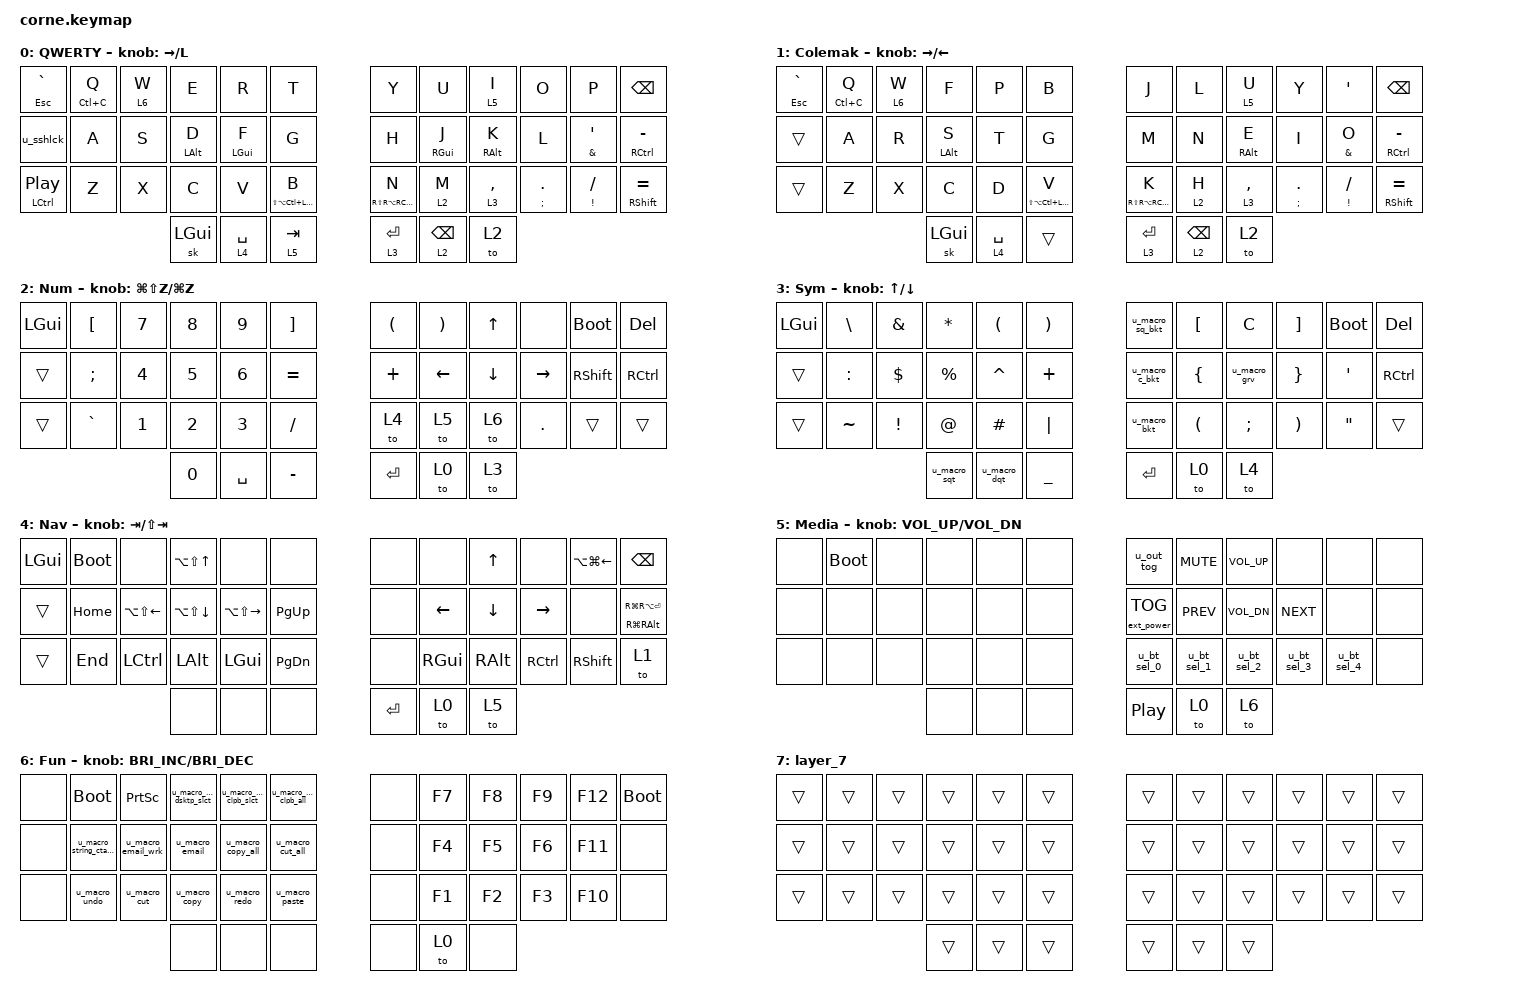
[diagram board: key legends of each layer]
#include <behaviors/mouse_key_press.dtsi>
#include <behaviors.dtsi>
#include <dt-bindings/zmk/bt.h>
#include <dt-bindings/zmk/ext_power.h>
#include <dt-bindings/zmk/keys.h>
#include <dt-bindings/zmk/keys.h>
#include <dt-bindings/zmk/outputs.h>

/ {
    keymap {
        compatible = "zmk,keymap";

        QWERTY {
            display-name = "QWERTY";
            bindings = <
&u_mt ESC GRAVE           &u_mt LC(C) Q  &u_lt 6 W  &kp E         &kp R          &kp T                       &kp Y                     &kp U         &u_lt 5 I     &kp O           &kp P             &kp BACKSPACE
&u_sshlck                 &kp A          &kp S      &u_mt LALT D  &u_mt LGUI F   &kp G                       &kp H                     &u_mt RGUI J  &u_mt RALT K  &kp L           &u_mt AMPS SQT    &u_mt RCTRL MINUS
&u_mt LCTRL C_PLAY_PAUSE  &kp Z          &kp X      &kp C         &kp V          &u_mt LS(LA(LC(LGUI))) B    &u_mt RS(RA(RC(RGUI))) N  &u_lt 2 M     &lt 3 COMMA   &u_mt SEMI DOT  &u_mt EXCL SLASH  &u_mt RSHIFT EQUAL
                                                    &sk LGUI      &u_lt 4 SPACE  &u_lt 5 TAB                 &u_lt 3 RET               &u_lt 2 BSPC  &to 2
            >;

            sensor-bindings = <&inc_dec_kp RIGHT L>;
        };

        COLEMAK {
            display-name = "Colemak";
            bindings = <
&u_mt ESC GRAVE  &u_mt LC(C) Q  &u_lt 6 W  &kp F         &kp P          &kp B                       &kp J                     &kp L         &u_lt 5 U      &kp Y           &kp SQT         &kp BACKSPACE
&trans           &kp A          &kp R      &u_mt LALT S  &kp T          &kp G                       &kp M                     &kp N         &u_mt RALT E   &kp I           &u_mt AMPS O    &mt RCTRL MINUS
&trans           &kp Z          &kp X      &kp C         &kp D          &u_mt LS(LA(LC(LGUI))) V    &u_mt RS(RA(RC(RGUI))) K  &u_lt 2 H     &u_lt 3 COMMA  &u_mt SEMI DOT  &mt EXCL SLASH  &u_mt RSHIFT EQUAL
                                           &sk LGUI      &u_lt 4 SPACE  &trans                      &u_lt 3 RET               &u_lt 2 BSPC  &to 2
            >;

            sensor-bindings = <&inc_dec_kp RIGHT LEFT>;
        };

        NUM {
            display-name = "Num";
            bindings = <
&kp LGUI  &kp LBKT   &kp N7  &kp N8  &kp N9     &kp RBKT     &kp LPAR  &kp RPAR  &kp UP    &none      &bootloader  &kp DEL
&trans    &kp SEMI   &kp N4  &kp N5  &kp N6     &kp EQUAL    &kp PLUS  &kp LEFT  &kp DOWN  &kp RIGHT  &kp RSHFT    &kp RCTRL
&trans    &kp GRAVE  &kp N1  &kp N2  &kp N3     &kp SLASH    &to 4     &to 5     &to 6     &kp DOT    &trans       &trans
                             &kp N0  &kp SPACE  &kp MINUS    &kp RET   &to 0     &to 3
            >;

            sensor-bindings = <&inc_dec_kp LG(LS(Z)) LG(Z)>;
        };

        SYM {
            display-name = "Sym";
            bindings = <
&kp LGUI  &kp BSLH   &kp AMPS  &kp ASTRK     &kp LPAR      &kp RPAR     &u_macro_sq_bkt  &kp LBKT  &kp C         &kp RBKT  &bootloader  &kp DEL
&trans    &kp COLON  &kp DLLR  &kp PRCNT     &kp CARET     &kp PLUS     &u_macro_c_bkt   &kp LBRC  &u_macro_grv  &kp RBRC  &kp SQT      &kp RCTRL
&trans    &kp TILDE  &kp EXCL  &kp AT        &kp HASH      &kp PIPE     &u_macro_bkt     &kp LPAR  &kp SEMI      &kp RPAR  &kp DQT      &trans
                               &u_macro_sqt  &u_macro_dqt  &kp UNDER    &kp RET          &to 0     &to 4
            >;

            sensor-bindings = <&inc_dec_kp UP DOWN>;
        };

        NAV {
            display-name = "Nav";
            bindings = <
&kp LGUI  &bootloader  &none             &kp LA(LS(UP))    &none              &none            &none    &none     &kp UP    &none      &kp LA(LG(LEFT))  &kp BACKSPACE
&trans    &kp HOME     &kp LA(LS(LEFT))  &kp LA(LS(DOWN))  &kp LA(LS(RIGHT))  &kp PAGE_UP      &none    &kp LEFT  &kp DOWN  &kp RIGHT  &none             &u_mt RG(RALT) RG(RA(ENTER))
&trans    &kp END      &kp LEFT_CONTROL  &kp LEFT_ALT      &kp LGUI           &kp PAGE_DOWN    &none    &kp RGUI  &kp RALT  &kp RCTRL  &kp RSHIFT        &to 1
                                         &none             &none              &none            &kp RET  &to 0     &to 5
            >;

            sensor-bindings = <&inc_dec_kp TAB LS(TAB)>;
        };

        MEDIA {
            display-name = "Media";
            bindings = <
&none  &bootloader  &none  &none  &none  &none    &u_out_tog         &kp C_MUTE   &kp C_VOL_UP  &none        &none        &none
&none  &none        &none  &none  &none  &none    &ext_power EP_TOG  &kp C_PREV   &kp C_VOL_DN  &kp C_NEXT   &none        &none
&none  &none        &none  &none  &none  &none    &u_bt_sel_0        &u_bt_sel_1  &u_bt_sel_2   &u_bt_sel_3  &u_bt_sel_4  &none
                           &none  &none  &none    &kp C_PLAY_PAUSE   &to 0        &to 6
            >;

            sensor-bindings = <&inc_dec_kp C_VOL_UP C_VOL_DN>;
        };

        FUN {
            display-name = "Fun";
            bindings = <
&none  &bootloader            &kp PSCRN           &u_macro_pscrn_dsktp_slct  &u_macro_pscrn_clpb_slct  &u_macro_pscrn_clpb_all    &none  &kp F7  &kp F8  &kp F9  &kp F12  &bootloader
&none  &u_macro_string_ctask  &u_macro_email_wrk  &u_macro_email             &u_macro_copy_all         &u_macro_cut_all           &none  &kp F4  &kp F5  &kp F6  &kp F11  &none
&none  &u_macro_undo          &u_macro_cut        &u_macro_copy              &u_macro_redo             &u_macro_paste             &none  &kp F1  &kp F2  &kp F3  &kp F10  &none
                                                  &none                      &none                     &none                      &none  &to 0   &none
            >;

            sensor-bindings = <&inc_dec_kp C_BRI_INC C_BRI_DEC>;
        };

        layer_7 {
            bindings = <
&trans  &trans  &trans  &trans  &trans  &trans    &trans  &trans  &trans  &trans  &trans  &trans
&trans  &trans  &trans  &trans  &trans  &trans    &trans  &trans  &trans  &trans  &trans  &trans
&trans  &trans  &trans  &trans  &trans  &trans    &trans  &trans  &trans  &trans  &trans  &trans
                        &trans  &trans  &trans    &trans  &trans  &trans
            >;
        };
    };

    combos {
        compatible = "zmk,combos";

        u_combo_base {
            bindings = <&to 1>;
            key-positions = <10 11>;
        };

        u_combo_esc {
            bindings = <&kp ESC>;
            key-positions = <24 35>;
        };

        u_combo_extra {
            bindings = <&to 0>;
            key-positions = <23 22>;
        };

        u_combo_zoom {
            bindings = <&u_macro_app_zoom>;
            key-positions = <6 7>;
        };

        u_combo_zoom_mic {
            bindings = <&u_macro_app_zoom_mic>;
            key-positions = <18 19>;
        };

        u_combo_zoom_end {
            bindings = <&u_macro_app_close_window>;
            key-positions = <1 10>;
        };

        u_combo_volup {
            bindings = <&kp C_VOL_UP>;
            key-positions = <10 22>;
        };

        u_combo_voldown {
            bindings = <&kp C_VOL_DN>;
            key-positions = <22 34>;
        };

        u_combo_playpause {
            bindings = <&kp C_PLAY_PAUSE>;
            key-positions = <28 29>;
        };

        u_combo_search_selected {
            bindings = <&u_macro_search_selected>;
            key-positions = <16 17>;
        };
    };

    macros {
        u_macro_u_bt_sel_0: u_macro_u_bt_sel_0 {
            compatible = "zmk,behavior-macro";
            #binding-cells = <0>;
            wait-ms = <0>;
            bindings = <&bt BT_SEL 0 &bt BT_CLR>;
        };

        u_macro_u_bt_sel_1: u_macro_u_bt_sel_1 {
            compatible = "zmk,behavior-macro";
            #binding-cells = <0>;
            wait-ms = <0>;
            bindings = <&bt BT_SEL 1 &bt BT_CLR>;
        };

        u_macro_u_bt_sel_2: u_macro_u_bt_sel_2 {
            compatible = "zmk,behavior-macro";
            #binding-cells = <0>;
            wait-ms = <0>;
            bindings = <&bt BT_SEL 2 &bt BT_CLR>;
        };

        u_macro_u_bt_sel_3: u_macro_u_bt_sel_3 {
            compatible = "zmk,behavior-macro";
            #binding-cells = <0>;
            wait-ms = <0>;
            bindings = <&bt BT_SEL 3 &bt BT_CLR>;
        };

        u_macro_u_bt_sel_4: u_macro_u_bt_sel_4 {
            compatible = "zmk,behavior-macro";
            #binding-cells = <0>;
            wait-ms = <0>;
            bindings = <&bt BT_SEL 4 &bt BT_CLR>;
        };

        u_macro_btn1: u_macro_btn1 {
            compatible = "zmk,behavior-macro";
            #binding-cells = <0>;
            wait-ms = <0>;
            bindings = <&kp KP_SLASH &kp KP_N5>;
        };

        u_macro_btn2: u_macro_btn2 {
            compatible = "zmk,behavior-macro";
            #binding-cells = <0>;
            wait-ms = <0>;
            bindings = <&kp KP_MINUS &kp KP_N5>;
        };

        u_macro_btn3: u_macro_btn3 {
            compatible = "zmk,behavior-macro";
            #binding-cells = <0>;
            wait-ms = <0>;
            bindings = <&kp KP_ASTERISK &kp KP_N5>;
        };

        u_macro_email_wrk: u_macro_email_wrk {
            compatible = "zmk,behavior-macro";
            #binding-cells = <0>;
            bindings = <&kp R &kp Y &kp E &kp E &kp AT &kp H &kp E &kp A &kp L &kp T &kp H &kp F &kp I &kp R &kp S &kp T &kp DOT &kp O &kp R &kp G>;
        };

        u_macro_email: u_macro_email {
            compatible = "zmk,behavior-macro";
            #binding-cells = <0>;
            bindings = <&none &kp L &kp O &kp O &kp K &kp F &kp O &kp R &kp DOT &kp R &kp A &kp C &kp H &kp E &kp L &kp AT &kp G &kp M &kp A &kp I &kp L &kp DOT &kp C &kp O &kp M>;
        };

        u_macro_string_ctask: u_macro_string_ctask {
            compatible = "zmk,behavior-macro";
            #binding-cells = <0>;
            bindings = <&none &kp LS(S) &kp E &kp R &kp V &kp E &kp R &kp L &kp E &kp S &kp S &kp SPACE &kp LS(C) &kp LS(D) &kp SPACE &kp D &kp E &kp P &kp L &kp O &kp Y &kp SPACE>;
        };

        u_macro_app_zoom: u_macro_app_zoom {
            compatible = "zmk,behavior-macro";
            #binding-cells = <0>;
            bindings = <&none &kp LG(LA(LC(LS(Z))))>;
        };

        u_macro_app_zoom_mic: u_macro_app_zoom_mic {
            compatible = "zmk,behavior-macro";
            #binding-cells = <0>;
            bindings = <&u_macro_app_zoom &kp LG(LS(A))>;
        };

        u_macro_app_close_window: u_macro_app_close_window {
            compatible = "zmk,behavior-macro";
            #binding-cells = <0>;
            bindings = <&kp LG(W) &kp ENTER>;
            wait-ms = <500>;
        };

        u_macro_string_ryee: u_macro_string_ryee {
            compatible = "zmk,behavior-macro";
            #binding-cells = <0>;
            bindings = <&none &kp R &kp Y &kp E &kp E>;
        };

        u_macro_string_name: u_macro_string_name {
            compatible = "zmk,behavior-macro";
            #binding-cells = <0>;
            bindings = <&none &kp LS(R) &kp A &kp C &kp H &kp E &kp L &kp SPACE &kp LS(Y) &kp E &kp E>;
        };

        u_macro_cut_all: u_macro_cut_all {
            compatible = "zmk,behavior-macro";
            #binding-cells = <0>;
            bindings = <&kp LG(A) &kp LG(X)>;
        };

        u_macro_pscrn_clpb_slct: u_macro_pscrn_clpb_slct {
            compatible = "zmk,behavior-macro";
            #binding-cells = <0>;
            bindings = <&none &kp LG(LC(LS(NUMBER_4)))>;
        };

        u_macro_pscrn_clpb_all: u_macro_pscrn_clpb_all {
            compatible = "zmk,behavior-macro";
            #binding-cells = <0>;
            bindings = <&kp LG(LC(LS(NUMBER_3)))>;
        };

        u_macro_pscrn_dsktp_slct: u_macro_pscrn_dsktp_slct {
            compatible = "zmk,behavior-macro";
            #binding-cells = <0>;
            bindings = <&kp LG(LS(NUMBER_4))>;
        };

        u_macro_pscrn_dsktp_all: u_macro_pscrn_all {
            compatible = "zmk,behavior-macro";
            #binding-cells = <0>;
            bindings = <&kp LG(LS(NUMBER_3))>;
        };

        u_macro_copy_all: u_macro_copy_all {
            compatible = "zmk,behavior-macro";
            #binding-cells = <0>;
            bindings = <&kp LG(A) &kp LG(C)>;
        };

        u_macro_bkt: u_macro_bkt {
            compatible = "zmk,behavior-macro";
            #binding-cells = <0>;
            bindings = <&kp LPAR &kp RPAR &kp LEFT>;
        };

        u_macro_sq_bkt: u_macro_sq_bkt {
            compatible = "zmk,behavior-macro";
            #binding-cells = <0>;
            bindings = <&kp LBKT &kp RBKT &kp LEFT>;
        };

        u_macro_c_bkt: u_macro_c_bkt {
            compatible = "zmk,behavior-macro";
            #binding-cells = <0>;
            bindings = <&kp LBRC &kp RBRC &kp LEFT>;
        };

        u_macro_angled_brackets: u_macro_angled_brackets {
            compatible = "zmk,behavior-macro";
            #binding-cells = <0>;
            bindings = <&kp LT &kp GT &kp LEFT>;
        };

        u_macro_dqt: u_macro_dqt {
            compatible = "zmk,behavior-macro";
            #binding-cells = <0>;
            bindings = <&kp DQT &kp DQT &kp LEFT>;
        };

        u_macro_sqt: u_macro_sqt {
            compatible = "zmk,behavior-macro";
            #binding-cells = <0>;
            bindings = <&kp SQT &kp SQT &kp LEFT>;
        };

        u_macro_grv: u_macro_grv {
            compatible = "zmk,behavior-macro";
            #binding-cells = <0>;
            bindings = <&kp GRAVE &kp GRAVE &kp LEFT>;
        };

        u_macro_undo: u_macro_undo {
            compatible = "zmk,behavior-macro";
            #binding-cells = <0>;
            bindings = <&kp LG(Z)>;
        };

        u_macro_redo: u_macro_redo {
            compatible = "zmk,behavior-macro";
            #binding-cells = <0>;
            bindings = <&kp LG(LS(Z))>;
        };

        u_macro_cut: u_macro_cut {
            compatible = "zmk,behavior-macro";
            #binding-cells = <0>;
            bindings = <&kp LG(X)>;
        };

        u_macro_copy: u_macro_copy {
            compatible = "zmk,behavior-macro";
            #binding-cells = <0>;
            bindings = <&kp LG(C)>;
        };

        u_macro_paste: u_macro_paste {
            compatible = "zmk,behavior-macro";
            #binding-cells = <0>;
            bindings = <&kp LG(V)>;
        };

        u_macro_select_all: u_macro_select_all {
            compatible = "zmk,behavior-macro";
            #binding-cells = <0>;
            bindings = <&kp LG(A)>;
        };

        u_macro_search_selected: u_macro_search_selected {
            compatible = "zmk,behavior-macro";
            #binding-cells = <0>;
            bindings = <&kp LG(C) &kp LG(F) &kp LG(V)>;
        };
    };

    behaviors {
        u_bt_sel_0: u_bt_sel_0 {
            compatible = "zmk,behavior-mod-morph";
            #binding-cells = <0>;
            bindings = <&bt BT_SEL 0>, <&u_macro_u_bt_sel_0>;

            mods = <(MOD_LSFT|MOD_RSFT)>;
        };

        u_bt_sel_1: u_bt_sel_1 {
            compatible = "zmk,behavior-mod-morph";
            #binding-cells = <0>;
            bindings = <&bt BT_SEL 1>, <&u_macro_u_bt_sel_1>;

            mods = <(MOD_LSFT|MOD_RSFT)>;
        };

        u_bt_sel_2: u_bt_sel_2 {
            compatible = "zmk,behavior-mod-morph";
            #binding-cells = <0>;
            bindings = <&bt BT_SEL 2>, <&u_macro_u_bt_sel_2>;

            mods = <(MOD_LSFT|MOD_RSFT)>;
        };

        u_bt_sel_3: u_bt_sel_3 {
            compatible = "zmk,behavior-mod-morph";
            #binding-cells = <0>;
            bindings = <&bt BT_SEL 3>, <&u_macro_u_bt_sel_3>;

            mods = <(MOD_LSFT|MOD_RSFT)>;
        };

        u_bt_sel_4: u_bt_sel_4 {
            compatible = "zmk,behavior-mod-morph";
            #binding-cells = <0>;
            bindings = <&bt BT_SEL 4>, <&u_macro_u_bt_sel_4>;

            mods = <(MOD_LSFT|MOD_RSFT)>;
        };

        u_out_tog: u_out_tog {
            compatible = "zmk,behavior-mod-morph";
            #binding-cells = <0>;
            bindings = <&out OUT_TOG>, <&out OUT_USB>;

            mods = <(MOD_LSFT|MOD_RSFT)>;
        };

        u_caps_word: u_caps_word {
            compatible = "zmk,behavior-mod-morph";
            #binding-cells = <0>;
            bindings = <&caps_word>, <&kp CAPS>;

            mods = <(MOD_LSFT|MOD_RSFT)>;
        };

        u_to_U_BASE: u_to_U_BASE {
            compatible = "zmk,behavior-tap-dance";
            #binding-cells = <0>;
            tapping-term-ms = <200>;
            bindings = <&none>, <&to 1>;
        };

        u_to_U_EXTRA: u_to_U_EXTRA {
            compatible = "zmk,behavior-tap-dance";
            #binding-cells = <0>;
            tapping-term-ms = <200>;
            bindings = <&none>, <&to 0>;
        };

        u_to_U_TAP: u_to_U_TAP {
            compatible = "zmk,behavior-tap-dance";
            #binding-cells = <0>;
            tapping-term-ms = <200>;
            bindings = <&none>, <&to 0>;
        };

        u_to_U_BUTTON: u_to_U_BUTTON {
            compatible = "zmk,behavior-tap-dance";
            #binding-cells = <0>;
            tapping-term-ms = <200>;
            bindings = <&none>, <&to 0>;
        };

        u_to_U_NAV: u_to_U_NAV {
            compatible = "zmk,behavior-tap-dance";
            #binding-cells = <0>;
            tapping-term-ms = <200>;
            bindings = <&none>, <&to 5>;
        };

        u_to_U_MOUSE: u_to_U_MOUSE {
            compatible = "zmk,behavior-tap-dance";
            #binding-cells = <0>;
            tapping-term-ms = <200>;
            bindings = <&none>, <&to 0>;
        };

        u_to_U_MEDIA: u_to_U_MEDIA {
            compatible = "zmk,behavior-tap-dance";
            #binding-cells = <0>;
            tapping-term-ms = <200>;
            bindings = <&none>, <&to 6>;
        };

        u_to_U_NUM: u_to_U_NUM {
            compatible = "zmk,behavior-tap-dance";
            #binding-cells = <0>;
            tapping-term-ms = <200>;
            bindings = <&none>, <&to 3>;
        };

        u_to_U_SYM: u_to_U_SYM {
            compatible = "zmk,behavior-tap-dance";
            #binding-cells = <0>;
            tapping-term-ms = <200>;
            bindings = <&none>, <&to 4>;
        };

        u_to_U_FUN: u_to_U_FUN {
            compatible = "zmk,behavior-tap-dance";
            #binding-cells = <0>;
            tapping-term-ms = <200>;
            bindings = <&none>, <&to 0>;
        };

        u_mt: u_mt {
            compatible = "zmk,behavior-hold-tap";
            #binding-cells = <2>;
            tapping_term_ms = <200>;
            flavor = "tap-preferred";
            bindings = <&kp>, <&kp>;
        };

        u_lt: u_lt {
            compatible = "zmk,behavior-hold-tap";
            #binding-cells = <2>;
            tapping_term_ms = <200>;
            flavor = "tap-preferred";
            bindings = <&mo>, <&kp>;
        };

        u_comma_inner_morph: u_comma_inner_morph {
            compatible = "zmk,behavior-mod-morph";
            #binding-cells = <0>;
            bindings = <&kp LESS_THAN>, <&kp LEFT_BRACE>;

            mods = <(MOD_LCTL|MOD_RCTL)>;
        };

        u_comma_morph: u_comma_morph {
            compatible = "zmk,behavior-mod-morph";
            #binding-cells = <0>;
            bindings = <&kp COMMA>, <&u_comma_inner_morph>;

            mods = <(MOD_LSFT|MOD_RSFT)>;
        };

        u_skq: u_sticky_key_quick_release {
            compatible = "zmk,behavior-sticky-key";
            #binding-cells = <1>;
            bindings = <&kp>;
            release-after-ms = <1000>;
            quick-release;
            ignore-modifiers;
        };

        u_sshlck: u_sticky_shift_lock {
            compatible = "zmk,behavior-tap-dance";
            #binding-cells = <0>;
            bindings = <&u_skq LSHFT>, <&kt LSHFT>;

            tapping-term-ms = <200>;
        };
    };
};
